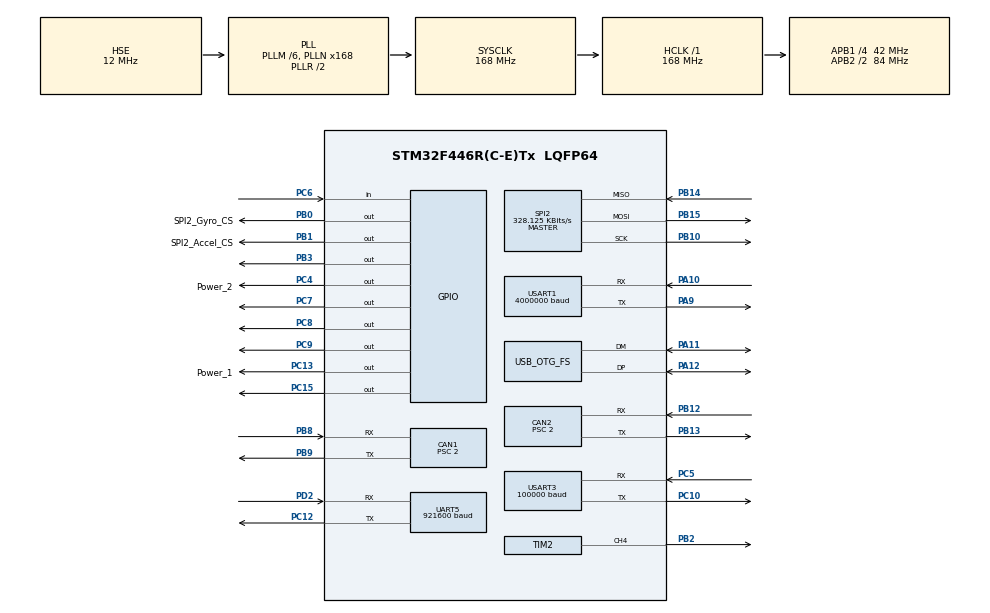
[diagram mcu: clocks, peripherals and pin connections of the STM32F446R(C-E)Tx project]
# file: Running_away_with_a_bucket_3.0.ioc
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CAN1.ABOM=ENABLE
CAN1.BS1=CAN_BS1_15TQ
CAN1.BS2=CAN_BS2_5TQ
CAN1.CalculateBaudRate=1000000
CAN1.CalculateTimeBit=1000
CAN1.CalculateTimeQuantum=47.61904761904762
CAN1.Prescaler=2
CAN2.BS1=CAN_BS1_15TQ
CAN2.BS2=CAN_BS2_5TQ
CAN2.CalculateBaudRate=1000000
CAN2.CalculateTimeBit=1000
CAN2.CalculateTimeQuantum=47.61904761904762
CAN2.Prescaler=2
Dma.Request0=SPI2_RX
Dma.Request1=SPI2_TX
Dma.Request2=USART3_RX
Dma.Request3=UART5_RX
Dma.SPI2_RX.0.Direction=DMA_PERIPH_TO_MEMORY
Dma.SPI2_RX.0.FIFOMode=DMA_FIFOMODE_DISABLE
Dma.SPI2_RX.0.Instance=DMA1_Stream3
Dma.SPI2_RX.0.MemDataAlignment=DMA_MDATAALIGN_BYTE
Dma.SPI2_RX.0.MemInc=DMA_MINC_ENABLE
Dma.SPI2_RX.0.Mode=DMA_NORMAL
Dma.SPI2_RX.0.PeriphDataAlignment=DMA_PDATAALIGN_BYTE
Dma.SPI2_RX.0.PeriphInc=DMA_PINC_DISABLE
Dma.SPI2_RX.0.Priority=DMA_PRIORITY_HIGH
Dma.SPI2_TX.1.Direction=DMA_MEMORY_TO_PERIPH
Dma.SPI2_TX.1.FIFOMode=DMA_FIFOMODE_DISABLE
Dma.SPI2_TX.1.Instance=DMA1_Stream4
Dma.SPI2_TX.1.MemDataAlignment=DMA_MDATAALIGN_BYTE
Dma.SPI2_TX.1.MemInc=DMA_MINC_ENABLE
Dma.SPI2_TX.1.Mode=DMA_NORMAL
Dma.SPI2_TX.1.PeriphDataAlignment=DMA_PDATAALIGN_BYTE
Dma.SPI2_TX.1.PeriphInc=DMA_PINC_DISABLE
Dma.SPI2_TX.1.Priority=DMA_PRIORITY_VERY_HIGH
Dma.UART5_RX.3.Direction=DMA_PERIPH_TO_MEMORY
Dma.UART5_RX.3.FIFOMode=DMA_FIFOMODE_DISABLE
Dma.UART5_RX.3.Instance=DMA1_Stream0
Dma.UART5_RX.3.MemDataAlignment=DMA_MDATAALIGN_BYTE
Dma.UART5_RX.3.MemInc=DMA_MINC_ENABLE
Dma.UART5_RX.3.Mode=DMA_NORMAL
Dma.UART5_RX.3.PeriphDataAlignment=DMA_PDATAALIGN_BYTE
Dma.UART5_RX.3.PeriphInc=DMA_PINC_DISABLE
Dma.UART5_RX.3.Priority=DMA_PRIORITY_LOW
Dma.USART3_RX.2.Direction=DMA_PERIPH_TO_MEMORY
Dma.USART3_RX.2.FIFOMode=DMA_FIFOMODE_DISABLE
Dma.USART3_RX.2.Instance=DMA1_Stream1
Dma.USART3_RX.2.MemDataAlignment=DMA_MDATAALIGN_BYTE
Dma.USART3_RX.2.MemInc=DMA_MINC_ENABLE
Dma.USART3_RX.2.Mode=DMA_NORMAL
Dma.USART3_RX.2.PeriphDataAlignment=DMA_PDATAALIGN_BYTE
Dma.USART3_RX.2.PeriphInc=DMA_PINC_DISABLE
Dma.USART3_RX.2.Priority=DMA_PRIORITY_LOW
FREERTOS.INCLUDE_vTaskDelayUntil=1
FREERTOS.Tasks01=defaultTask,0,1024,StartDefaultTask,Default,NULL,Dynamic,NULL,NULL;myTask04,-3,128,refree_task,As external,NULL,Dynamic,NULL,NULL;myTask05,-3,512,gimbal_task,As external,NULL,Dynamic,NULL,NULL;myTask06,-3,512,vision_task,As external,NULL,Dynamic,NULL,NULL
FREERTOS.configENABLE_FPU=1
Mcu.Family=STM32F4
Mcu.Name=STM32F446R(C-E)Tx
Mcu.Package=LQFP64
NVIC.CAN1_RX0_IRQn=true\:6\:0\:true\:false\:true\:true\:true\:true\:true
NVIC.CAN2_RX0_IRQn=true\:6\:0\:true\:false\:true\:true\:true\:true\:true
NVIC.CAN2_TX_IRQn=true\:5\:0\:false\:false\:true\:true\:true\:true\:true
NVIC.DMA1_Stream0_IRQn=true\:5\:0\:false\:false\:true\:true\:false\:true\:true
NVIC.DMA1_Stream1_IRQn=true\:5\:0\:false\:false\:true\:true\:false\:true\:true
NVIC.DMA1_Stream3_IRQn=true\:5\:0\:false\:false\:true\:true\:false\:true\:true
NVIC.DMA1_Stream4_IRQn=true\:5\:0\:false\:false\:true\:true\:false\:true\:true
NVIC.OTG_FS_IRQn=true\:5\:0\:false\:false\:true\:true\:false\:true\:true
NVIC.PriorityGroup=NVIC_PRIORITYGROUP_4
NVIC.UART5_IRQn=true\:5\:0\:false\:false\:true\:true\:true\:true\:true
PA10.Mode=Asynchronous
PA10.Signal=USART1_RX
PA11.Mode=Device_Only
PA11.Signal=USB_OTG_FS_DM
PA12.Mode=Device_Only
PA12.Signal=USB_OTG_FS_DP
PA13.Mode=Serial_Wire
PA13.Signal=SYS_JTMS-SWDIO
PA14.Mode=Serial_Wire
PA14.Signal=SYS_JTCK-SWCLK
PA9.Mode=Asynchronous
PA9.Signal=USART1_TX
PB0.GPIO_Label=SPI2_Gyro_CS
PB0.Signal=GPIO_Output
PB1.GPIO_Label=SPI2_Accel_CS
PB1.Signal=GPIO_Output
PB10.Mode=Full_Duplex_Master
PB10.Signal=SPI2_SCK
PB12.Mode=CAN_Activate
PB12.Signal=CAN2_RX
PB13.Mode=CAN_Activate
PB13.Signal=CAN2_TX
PB14.Mode=Full_Duplex_Master
PB14.Signal=SPI2_MISO
PB15.Mode=Full_Duplex_Master
PB15.Signal=SPI2_MOSI
PB2.Signal=S_TIM2_CH4
PB3.Signal=GPIO_Output
PB8.Mode=CAN_Activate
PB8.Signal=CAN1_RX
PB9.Mode=CAN_Activate
PB9.Signal=CAN1_TX
PC10.Mode=Asynchronous
PC10.Signal=USART3_TX
PC12.Mode=Asynchronous
PC12.Signal=UART5_TX
PC13.GPIO_Label=Power_1
PC13.Signal=GPIO_Output
PC15-OSC32_OUT.Signal=GPIO_Output
PC4.GPIO_Label=Power_2
PC4.Signal=GPIO_Output
PC5.Mode=Asynchronous
PC5.Signal=USART3_RX
PC6.Signal=GPIO_Input
PC7.Signal=GPIO_Output
PC8.Signal=GPIO_Output
PC9.Signal=GPIO_Output
PD2.Mode=Asynchronous
PD2.Signal=UART5_RX
PH0-OSC_IN.Mode=HSE-External-Oscillator
PH0-OSC_IN.Signal=RCC_OSC_IN
PH1-OSC_OUT.Mode=HSE-External-Oscillator
PH1-OSC_OUT.Signal=RCC_OSC_OUT
ProjectManager.HeapSize=0x200
ProjectManager.StackSize=0x400
ProjectManager.TargetToolchain=MDK-ARM V5.32
RCC.AHBFreq_Value=168000000
RCC.APB1CLKDivider=RCC_HCLK_DIV4
RCC.APB1Freq_Value=42000000
RCC.APB1TimFreq_Value=84000000
RCC.APB2CLKDivider=RCC_HCLK_DIV2
RCC.APB2Freq_Value=84000000
RCC.APB2TimFreq_Value=168000000
RCC.CortexFreq_Value=168000000
RCC.HCLKFreq_Value=168000000
RCC.HSE_VALUE=12000000
RCC.PLLM=6
RCC.PLLN=168
RCC.PLLQ=7
RCC.PLLSourceVirtual=RCC_PLLSOURCE_HSE
RCC.SYSCLKFreq_VALUE=168000000
RCC.SYSCLKSource=RCC_SYSCLKSOURCE_PLLRCLK
RCC.USBFreq_Value=48000000
RCC.VCOOutputFreq_Value=336000000
SH.S_TIM2_CH4.0=TIM2_CH4,PWM Generation4 CH4
SPI2.BaudRatePrescaler=SPI_BAUDRATEPRESCALER_128
SPI2.CLKPhase=SPI_PHASE_2EDGE
SPI2.CLKPolarity=SPI_POLARITY_HIGH
SPI2.CalculateBaudRate=328.125 KBits/s
SPI2.Direction=SPI_DIRECTION_2LINES
SPI2.Mode=SPI_MODE_MASTER
SPI2.VirtualType=VM_MASTER
TIM2.Channel-PWM\ Generation4\ CH4=TIM_CHANNEL_4
TIM2.Period=30000
TIM2.Prescaler=84
UART5.BaudRate=921600
UART5.VirtualMode=Asynchronous
USART1.BaudRate=4000000
USART1.VirtualMode=VM_ASYNC
USART3.BaudRate=100000
USART3.VirtualMode=VM_ASYNC
USB_DEVICE.CLASS_NAME_FS=CDC
USB_DEVICE.VirtualMode-CDC_FS=Cdc
USB_DEVICE.VirtualModeFS=Cdc_FS
USB_OTG_FS.VirtualMode=Device_Only
VP_FREERTOS_VS_CMSIS_V1.Mode=CMSIS_V1
VP_USB_DEVICE_VS_USB_DEVICE_CDC_FS.Mode=CDC_FS
board=custom

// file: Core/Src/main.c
/* USER CODE BEGIN Header */
/**
  ******************************************************************************
  * @file           : main.c
  * @brief          : Main program body
  ******************************************************************************
  * @attention
  *
  * Copyright (c) 2023 STMicroelectronics.
  * All rights reserved.
  *
  * This software is licensed under terms that can be found in the LICENSE file
  * in the root directory of this software component.
  * If no LICENSE file comes with this software, it is provided AS-IS.
  *
  ******************************************************************************
  */
/* USER CODE END Header */
#include "main.h"
#include "cmsis_os.h"
#include "can.h"
#include "dma.h"
#include "spi.h"
#include "tim.h"
#include "usart.h"
#include "usb_device.h"
#include "gpio.h"

/* USER CODE BEGIN Includes */
#include "bsp_dwt.h"
#include "MI_Cyber_Gear.h"
#include "rc.h"
/* USER CODE END Includes */

/* USER CODE BEGIN PD */
extern DMA_HandleTypeDef hdma_usart3_rx;
u8 dbus_recieve_1[36],dbus_recieve_2[36],VT13_recieve_1[42],VT13_recieve_2[42];
extern TIM_HandleTypeDef htim2;
MI_Motor_s  MI_Motor,MI_Motor2;
/* USER CODE END PD */

void SystemClock_Config(void);
void MX_FREERTOS_Init(void);

int main(void)
{

  /* MCU Configuration--------------------------------------------------------*/

  /* Reset of all peripherals, Initializes the Flash interface and the Systick. */
  HAL_Init();

  /* Configure the system clock */
  SystemClock_Config();

  /* Initialize all configured peripherals */
  MX_GPIO_Init();
  MX_DMA_Init();
  MX_SPI2_Init();
  MX_CAN1_Init();
  MX_CAN2_Init();
  MX_USART3_UART_Init();
  MX_UART5_Init();
  MX_USART1_UART_Init();
  MX_TIM2_Init();
  /* USER CODE BEGIN 2 */
//	MX_TIM2_Init();
  HAL_TIM_PWM_Start(&htim2, TIM_CHANNEL_4);    /* 开启PWM通道4 */
	HAL_NVIC_SetPriority(USART3_IRQn, 5, 0);
	HAL_NVIC_EnableIRQ(USART3_IRQn);
	SET_BIT(huart3.Instance->CR3, USART_CR3_DMAR);
	__HAL_UART_ENABLE_IT(&huart3, UART_IT_IDLE);//开启空闲中断

//	HAL_NVIC_SetPriority(UART5_IRQn, 5, 0);
//	HAL_NVIC_EnableIRQ(UART5_IRQn);

	USART_RxDMA_MultiBufferStart(&huart5,(uint32_t *)&(huart5.Instance->DR),(uint32_t *)&VT13_recieve_1[0],(uint32_t *)&VT13_recieve_2[1],42U);

	HAL_NVIC_SetPriority(USART1_IRQn, 5, 0);
	HAL_NVIC_EnableIRQ(USART1_IRQn);
//	SET_BIT(huart1.Instance->CR3, USART_CR3_DMAR);
//	__HAL_UART_ENABLE_IT(&huart1, UART_IT_IDLE);//开启空闲中断

	__HAL_DMA_DISABLE(&hdma_usart3_rx);  //失能DMA,解除保护
	while(hdma_usart3_rx.Instance->CR & DMA_SxCR_EN)
	{
			__HAL_DMA_DISABLE(&hdma_usart3_rx);
	}
	__HAL_DMA_CLEAR_FLAG(&hdma_usart3_rx, DMA_LISR_TCIF1);
	hdma_usart3_rx.Instance->PAR = (uint32_t) & (USART3->DR);
	hdma_usart3_rx.Instance->M0AR = (uint32_t)(dbus_recieve_1);
	hdma_usart3_rx.Instance->M1AR = (uint32_t)(dbus_recieve_2);
	__HAL_DMA_SET_COUNTER(&hdma_usart3_rx, 36u);
	SET_BIT(hdma_usart3_rx.Instance->CR, DMA_SxCR_DBM);
	__HAL_DMA_ENABLE(&hdma_usart3_rx);

	can_filter_init();
	HAL_CAN_ActivateNotification(&hcan1, CAN_IT_RX_FIFO0_MSG_PENDING);              //CAN中断使能
	HAL_CAN_ActivateNotification(&hcan2, CAN_IT_RX_FIFO0_MSG_PENDING);

  while(BMI088_init()){;}
	HAL_GPIO_WritePin(GPIOC, Power_2_Pin, GPIO_PIN_SET);

	DWT_Init(168);
  /* USER CODE END 2 */

  /* Call init function for freertos objects (in cmsis_os2.c) */
  MX_FREERTOS_Init();

  /* Start scheduler */
  osKernelStart();

  /* We should never get here as control is now taken by the scheduler */

  /* Infinite loop */
  while (1)
  {

  }
}

void SystemClock_Config(void)
{
  RCC_OscInitTypeDef RCC_OscInitStruct = {0};
  RCC_ClkInitTypeDef RCC_ClkInitStruct = {0};

  /** Configure the main internal regulator output voltage
  */
  __HAL_RCC_PWR_CLK_ENABLE();
  __HAL_PWR_VOLTAGESCALING_CONFIG(PWR_REGULATOR_VOLTAGE_SCALE1);

  /** Initializes the RCC Oscillators according to the specified parameters
  * in the RCC_OscInitTypeDef structure.
  */
  RCC_OscInitStruct.OscillatorType = RCC_OSCILLATORTYPE_HSE;
  RCC_OscInitStruct.HSEState = RCC_HSE_ON;
  RCC_OscInitStruct.PLL.PLLState = RCC_PLL_ON;
  RCC_OscInitStruct.PLL.PLLSource = RCC_PLLSOURCE_HSE;
  RCC_OscInitStruct.PLL.PLLM = 6;
  RCC_OscInitStruct.PLL.PLLN = 168;
  RCC_OscInitStruct.PLL.PLLP = RCC_PLLP_DIV2;
  RCC_OscInitStruct.PLL.PLLQ = 7;
  RCC_OscInitStruct.PLL.PLLR = 2;
  if (HAL_RCC_OscConfig(&RCC_OscInitStruct) != HAL_OK)
  {
    Error_Handler();
  }

  /** Initializes the CPU, AHB and APB buses clocks
  */
  RCC_ClkInitStruct.ClockType = RCC_CLOCKTYPE_HCLK|RCC_CLOCKTYPE_SYSCLK
                              |RCC_CLOCKTYPE_PCLK1|RCC_CLOCKTYPE_PCLK2;
  RCC_ClkInitStruct.SYSCLKSource = RCC_SYSCLKSOURCE_PLLRCLK;
  RCC_ClkInitStruct.AHBCLKDivider = RCC_SYSCLK_DIV1;
  RCC_ClkInitStruct.APB1CLKDivider = RCC_HCLK_DIV4;
  RCC_ClkInitStruct.APB2CLKDivider = RCC_HCLK_DIV2;

  if (HAL_RCC_ClockConfig(&RCC_ClkInitStruct, FLASH_LATENCY_5) != HAL_OK)
  {
    Error_Handler();
  }
}

void Error_Handler(void)
{
  __disable_irq();
  while (1)
  {
  }
}

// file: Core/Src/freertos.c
/* USER CODE BEGIN Header */
/**
  ******************************************************************************
  * File Name          : freertos.c
  * Description        : Code for freertos applications
  ******************************************************************************
  * @attention
  *
  * Copyright (c) 2023 STMicroelectronics.
  * All rights reserved.
  *
  * This software is licensed under terms that can be found in the LICENSE file
  * in the root directory of this software component.
  * If no LICENSE file comes with this software, it is provided AS-IS.
  *
  ******************************************************************************
  */
/* USER CODE END Header */

#include "FreeRTOS.h"
#include "task.h"
#include "main.h"
#include "cmsis_os.h"

/* USER CODE BEGIN Includes */
#include "stm32f4xx_hal.h"
#include "gimbal_task.h"
#include "vision_task.h"
#include "balance_task.h"
#include "refree_task.h"
#include "imu_task.h"
#include "vision_task.h"
#include "ulitility_tools.h"
/* USER CODE END Includes */

/* USER CODE BEGIN PTD */
extern UART_HandleTypeDef huart1,huart2;
static float INS_LPF2p_Alpha[3]={1.929454039488895f, -0.93178349823448126f, 0.002329458745586203f};
LowPassFilter2p_Info_TypeDef INS_AcceLPF2p[3];

float INS_Angle[3] = {0.0f, 0.0f, 0.0f};
float MSG[3] = {0.0f, 0.0f, 0.0f};
uint8_t recieve_can[9];
/* USER CODE END PTD */

/* USER CODE BEGIN PD */
extern SPI_HandleTypeDef hspi2;
/* USER CODE END PD */

/* USER CODE BEGIN PM */
CAN_RxHeaderTypeDef	RxHeader;     //接收
bucket_imu imu;
/* USER CODE END PM */

osThreadId defaultTaskHandle;
osThreadId myTask04Handle;
osThreadId myTask05Handle;
osThreadId myTask06Handle;

/* USER CODE BEGIN FunctionPrototypes */
void QuaternionToEularAngle(float* q, float* Yaw, float* Pitch, float* Roll) {

*Yaw = atan2f(2.0f * (q[0] * q[3] + q[1] * q[2]),
2.0f * (q[0] * q[0] + q[1] * q[1]) - 1.0f) *
57.295779513f;
*Pitch = atan2f(2.0f * (q[0] * q[1] + q[2] * q[3]),
 2.0f * (q[0] * q[0] + q[3] * q[3]) - 1.0f) *
57.295779513f;
*Roll = asinf(2.0f * (q[0] * q[2] - q[1] * q[3])) * 57.295779513f;
}
/* USER CODE END FunctionPrototypes */

void StartDefaultTask(void const * argument);
extern void refree_task(void const * argument);
extern void gimbal_task(void const * argument);
extern void vision_task(void const * argument);

extern void MX_USB_DEVICE_Init(void);
void MX_FREERTOS_Init(void); /* (MISRA C 2004 rule 8.1) */

/* GetIdleTaskMemory prototype (linked to static allocation support) */
void vApplicationGetIdleTaskMemory( StaticTask_t **ppxIdleTaskTCBBuffer, StackType_t **ppxIdleTaskStackBuffer, uint32_t *pulIdleTaskStackSize );

/* USER CODE BEGIN GET_IDLE_TASK_MEMORY */
static StaticTask_t xIdleTaskTCBBuffer;
static StackType_t xIdleStack[configMINIMAL_STACK_SIZE];

void vApplicationGetIdleTaskMemory( StaticTask_t **ppxIdleTaskTCBBuffer, StackType_t **ppxIdleTaskStackBuffer, uint32_t *pulIdleTaskStackSize )
{
  *ppxIdleTaskTCBBuffer = &xIdleTaskTCBBuffer;
  *ppxIdleTaskStackBuffer = &xIdleStack[0];
  *pulIdleTaskStackSize = configMINIMAL_STACK_SIZE;
  /* place for user code */
}
/* USER CODE END GET_IDLE_TASK_MEMORY */

void MX_FREERTOS_Init(void) {

  /* Create the thread(s) */
  /* definition and creation of defaultTask */
  osThreadDef(defaultTask, StartDefaultTask, osPriorityNormal, 0, 1024);
  defaultTaskHandle = osThreadCreate(osThread(defaultTask), NULL);

  /* definition and creation of myTask04 */
  osThreadDef(myTask04, refree_task, osPriorityIdle, 0, 128);
  myTask04Handle = osThreadCreate(osThread(myTask04), NULL);

  /* definition and creation of myTask05 */
  osThreadDef(myTask05, gimbal_task, osPriorityIdle, 0, 512);
  myTask05Handle = osThreadCreate(osThread(myTask05), NULL);

  /* definition and creation of myTask06 */
  osThreadDef(myTask06, vision_task, osPriorityIdle, 0, 512);
  myTask06Handle = osThreadCreate(osThread(myTask06), NULL);

}

void StartDefaultTask(void const * argument)
{
  /* init code for USB_DEVICE */
  MX_USB_DEVICE_Init();
  /* USER CODE BEGIN StartDefaultTask */
  /* Infinite loop */
	imu.flash_flag=1;
	imu.q[0]=1;
    //set spi frequency
    hspi2.Init.BaudRatePrescaler = SPI_BAUDRATEPRESCALER_4;

    if (HAL_SPI_Init(&hspi2) != HAL_OK)
    {
        Error_Handler();
    }
		 BMI088_read(imu.gyro,imu.acc,&(imu.temp));

		 LowPassFilter2p_Init(&INS_AcceLPF2p[0],INS_LPF2p_Alpha);
     LowPassFilter2p_Init(&INS_AcceLPF2p[1],INS_LPF2p_Alpha);
     LowPassFilter2p_Init(&INS_AcceLPF2p[2],INS_LPF2p_Alpha);

//		 AHRS_init(imu.q,imu.acc,MSG);

//	uint32_t HAIHAIHAI =osKernelSysTick();
  for(;;)
  {
	 BMI088_read(imu.gyro,imu.acc,&(imu.temp));

    imu.acc_fliter[0] = LowPassFilter2p_Update(&INS_AcceLPF2p[0],imu.acc[0]);
    imu.acc_fliter[1] = LowPassFilter2p_Update(&INS_AcceLPF2p[2],imu.acc[1]);
    imu.acc_fliter[2] = LowPassFilter2p_Update(&INS_AcceLPF2p[1],imu.acc[2]);

		int ii;
		if(imu.cnt==20000){imu.cnt=20000;}
		else {imu.cnt++;}
		if(!imu.flash_flag)
		{
			if(imu.cnt>=1000 && imu.cnt<20000)
			{
				int i;
				for(i = 0; i<=2; i++)
				imu.gyro_zero[i]+=imu.gyro[i];
			}
			for(ii = 0; ii<=2; ii++)
			imu.gyro_buff[ii] = imu.gyro[ii] - imu.gyro_zero[ii]/18999;
			if(imu.cnt==20000&&imu.flash_read_flag==0)
			{
				STMFLASH_Write(0X08040000,(u32*)imu.gyro_zero,3);
				imu.flash_read_flag++;
			}
		}
		else if(imu.flash_flag)
		{
			imu.cnt=20000;
			if (!imu.flash_read_flag)
			{
				imu.flash_read_flag=1;
				STMFLASH_Read(0X08020000,(u32*)imu.gyro_zero,3);
				if(imu.gyro_zero[1]==0)
				{
					imu.gyro_zero[0] = 55.2097893;
					imu.gyro_zero[1] = -15.706131;
					imu.gyro_zero[2] = -17.9081974;
				}
				for(ii = 0; ii<=2; ii++)
				imu.gyro_buff[ii] = imu.gyro[ii] - imu.gyro_zero[ii]/18999;
			}
			else
			{
				for(ii = 0; ii<=2; ii++)
				imu.gyro_buff[ii] = imu.gyro[ii] - imu.gyro_zero[ii]/18999;
			}
		}
		if(imu.cnt==20000)
		{
		    imu_task();
		    imu.yaw[1]=imu.yaw[0];
			QuaternionToEularAngle(imu.q,&imu.yaw[0],&imu.pitch,&imu.roll);
		    float diff=imu.yaw[0]-imu.yaw[1];
			if(diff<= -150)
			imu.yaw_cnt++;
			else if(diff>= 150)
			imu.yaw_cnt--;
			imu.yaw[2]=imu.yaw[0]+imu.yaw_cnt*360.0f;
		}
//	 osDelayUntil(&HAIHAIHAI,1);
		osDelay(1);
  }
  /* USER CODE END StartDefaultTask */
}
